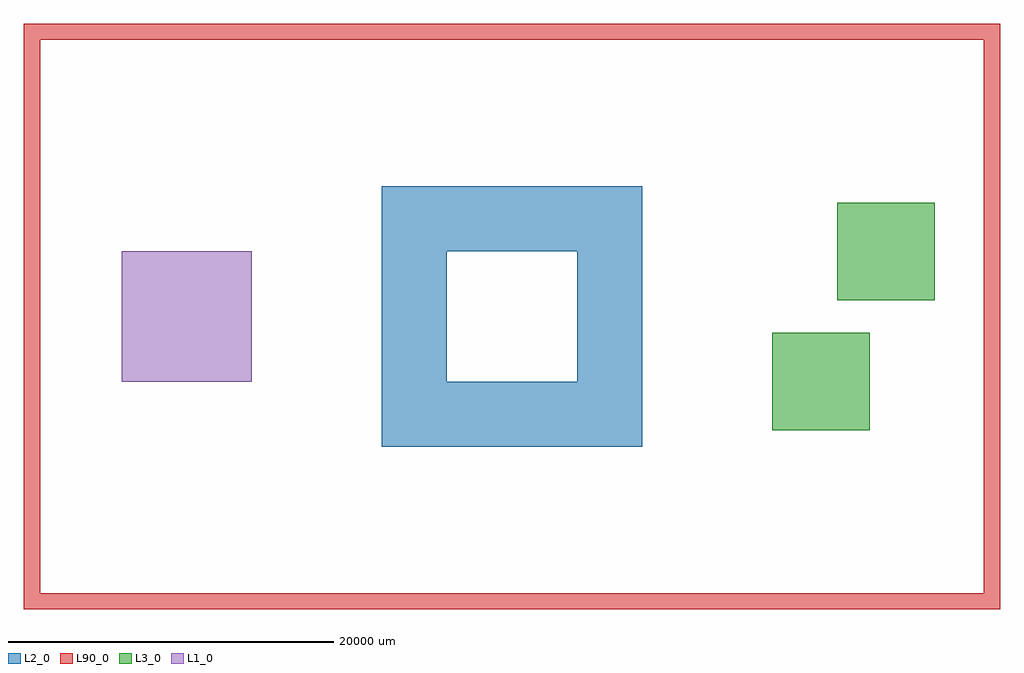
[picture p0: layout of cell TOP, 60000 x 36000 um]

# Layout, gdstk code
import gdstk
lib = gdstk.Library(unit=1e-6, precision=1e-09)
def R(c, l, rs):  # rectangles x0, y0, x1, y1
    for r in rs: c.add(gdstk.rectangle(r[:2], r[2:], *l))
L1_0 = (1, 0)
L2_0 = (2, 0)
L3_0 = (3, 0)
L90_0 = (90, 0)

top = lib.new_cell('TOP')
R(top, L1_0, [(-24000,-4000,-16000,4000)])
R(top, L2_0, [(-8000,-8000,8000,-4000), (-8000,-4000,-4000,4000), (4000,-4000,8000,4000), (-8000,4000,8000,8000)])
R(top, L3_0, [(16000,-7000,22000,-1000), (20000,1000,26000,7000)])
R(top, L90_0, [(-30000,-18000,30000,-17000), (-30000,-17000,-29000,17000), (29000,-17000,30000,17000), (-30000,17000,30000,18000)])

lib.write_gds('TOP.gds')
